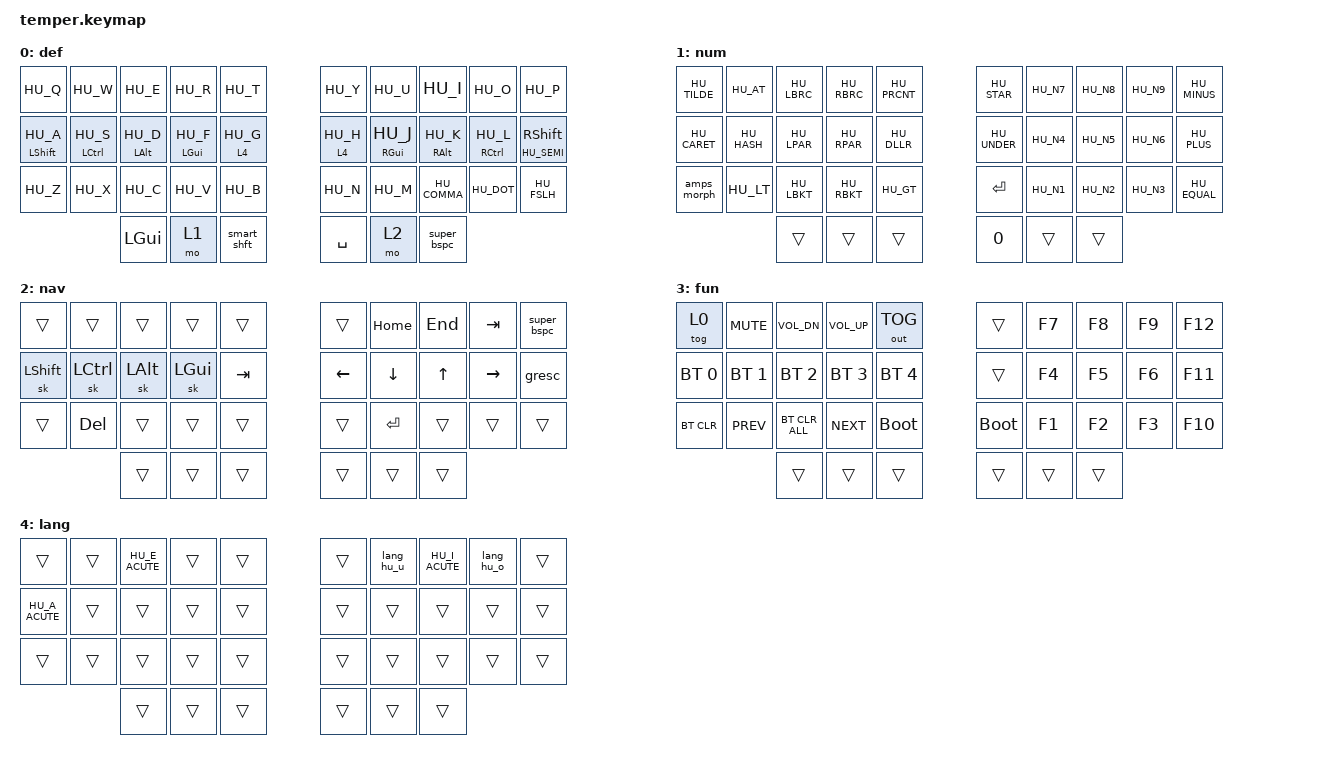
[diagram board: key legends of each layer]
/*
 * Copyright (c) 2020 The ZMK Contributors
 *
 * SPDX-License-Identifier: MIT
 */

#include "keys_hu_101.h"
#include <behaviors.dtsi>
#include <dt-bindings/zmk/bt.h>
#include <dt-bindings/zmk/keys.h>
#include <dt-bindings/zmk/outputs.h>

/ {
    conditional_layers {
        compatible = "zmk,conditional-layers";

        tri_layer {
            if-layers = <1 2>;
            then-layer = <3>;
        };
    };

    behaviors {
        bspc_del: backspace_delete {
            compatible = "zmk,behavior-mod-morph";
            #binding-cells = <0>;
            bindings = <&kp BACKSPACE>, <&kp DELETE>;

            mods = <(MOD_LSFT|MOD_RSFT)>;
            keep-mods = <(MOD_RSFT)>;
        };

        super_bspc: super_backspace {
            compatible = "zmk,behavior-mod-morph";
            #binding-cells = <0>;
            bindings = <&kp BACKSPACE>, <&kp LA(BACKSPACE)>;

            mods = <(MOD_LSFT|MOD_RSFT)>;
        };

        smart_shft: smart_shift {
            compatible = "zmk,behavior-mod-morph";
            #binding-cells = <0>;
            bindings = <&kp LSHFT>, <&caps_word>;

            mods = <(MOD_LSFT)>;
        };

        comma_semi: comma_semi {
            compatible = "zmk,behavior-mod-morph";
            #binding-cells = <0>;
            bindings = <&kp HU_COMMA>, <&kp HU_SEMI>;

            mods = <(MOD_LSFT)>;
        };

        dot_colon: dot_colon {
            compatible = "zmk,behavior-mod-morph";
            #binding-cells = <0>;
            bindings = <&kp HU_DOT>, <&kp HU_COLON>;

            mods = <(MOD_LSFT)>;
        };

        qmrk_excl: qmrk_excl {
            compatible = "zmk,behavior-mod-morph";
            #binding-cells = <0>;
            bindings = <&kp HU_QMARK>, <&kp HU_EXCL>;

            mods = <(MOD_LSFT)>;
        };

        slh_morph: slh_morph {
            compatible = "zmk,behavior-mod-morph";
            #binding-cells = <0>;
            bindings = <&kp HU_FSLH>, <&kp HU_BSLH>;

            mods = <(MOD_LSFT)>;
        };

        amps_morph: amps_morph {
            compatible = "zmk,behavior-mod-morph";
            #binding-cells = <0>;
            bindings = <&kp HU_AMPS>, <&kp HU_PIPE>;

            mods = <(MOD_LSFT)>;
        };

        ht_left: ht_left {
            compatible = "zmk,behavior-hold-tap";
            label = "HT_LEFT";
            bindings = <&kp>, <&kp>;

            #binding-cells = <2>;
            tapping-term-ms = <280>;
            quick-tap-ms = <175>;
            require-prior-idle-ms = <150>;
            flavor = "balanced";
            hold-trigger-on-release;
            hold-trigger-key-positions = <5 6 7 8 9 15 16 17 18 19 27 25 26 28 29 30 31 32 33 34 35>;
        };

        ht_right: ht_right {
            compatible = "zmk,behavior-hold-tap";
            label = "HT_RIGHT";
            bindings = <&kp>, <&kp>;

            #binding-cells = <2>;
            tapping-term-ms = <280>;
            quick-tap-ms = <175>;
            require-prior-idle-ms = <150>;
            flavor = "balanced";
            hold-trigger-on-release;
            hold-trigger-key-positions = <2 10 30 31 32 33 34 35 10 0 1 2 3 4 10 11 12 13 14 20 21 22 23 24 30 31 32>;
        };

        lang_hu_u: lang_hu_u {
            compatible = "zmk,behavior-tap-dance";
            label = "LANG_HU_U";
            #binding-cells = <0>;
            bindings =
                <&kp HU_U_ACUTE>,
                <&kp HU_U_UMLAUT>,
                <&kp HU_U_DOUBLE_ACUTE>;
        };

        lang_hu_o: lang_hu_o {
            compatible = "zmk,behavior-tap-dance";
            label = "LANG_HU_O";
            #binding-cells = <0>;
            bindings =
                <&kp HU_O_ACUTE>,
                <&kp HU_O_UMLAUT>,
                <&kp HU_O_DOUBLE_ACUTE>;
        };

        ht_left_layer: ht_left_layer {
            compatible = "zmk,behavior-hold-tap";
            label = "HT_LEFT_LAYER";
            bindings = <&mo>, <&kp>;

            #binding-cells = <2>;
            tapping-term-ms = <280>;
            quick-tap-ms = <175>;
            require-prior-idle-ms = <150>;
            flavor = "balanced";
            hold-trigger-on-release;
            hold-trigger-key-positions = <6 7 8 30 31 32 33 34 35>;
        };

        ht_right_layer: ht_right_layer {
            compatible = "zmk,behavior-hold-tap";
            label = "HT_RIGHT_LAYER";
            bindings = <&mo>, <&kp>;

            #binding-cells = <2>;
            tapping-term-ms = <280>;
            quick-tap-ms = <175>;
            require-prior-idle-ms = <150>;
            flavor = "balanced";
            hold-trigger-on-release;
            hold-trigger-key-positions = <2 10 30 31 32 33 34 35 10>;
        };
    };

    keymap {
        compatible = "zmk,keymap";

        default_layer {
            bindings = <
  &kp HU_Q              &kp HU_W             &kp HU_E            &kp HU_R            &kp HU_T                 &kp HU_Y                &kp HU_U             &kp HU_I             &kp HU_O              &kp HU_P
  &ht_left LSHIFT HU_A  &ht_left LCTRL HU_S  &ht_left LALT HU_D  &ht_left LGUI HU_F  &ht_left_layer 4 HU_G    &ht_right_layer 4 HU_H  &ht_right RGUI HU_J  &ht_right RALT HU_K  &ht_right RCTRL HU_L  &ht_right HU_SEMI RSHIFT
  &kp HU_Z              &kp HU_X             &kp HU_C            &kp HU_V            &kp HU_B                 &kp HU_N                &kp HU_M             &kp HU_COMMA         &kp HU_DOT            &kp HU_FSLH
                                             &kp LGUI            &mo 1               &smart_shft              &kp SPACE               &mo 2                &super_bspc
            >;

            label = "def";
        };

        num_layer {
            bindings = <
  &kp HU_TILDE  &kp HU_AT    &kp HU_LBRC  &kp HU_RBRC  &kp HU_PRCNT    &kp HU_STAR   &kp HU_N7  &kp HU_N8  &kp HU_N9  &kp HU_MINUS
  &kp HU_CARET  &kp HU_HASH  &kp HU_LPAR  &kp HU_RPAR  &kp HU_DLLR     &kp HU_UNDER  &kp HU_N4  &kp HU_N5  &kp HU_N6  &kp HU_PLUS
  &amps_morph   &kp HU_LT    &kp HU_LBKT  &kp HU_RBKT  &kp HU_GT       &kp RET       &kp HU_N1  &kp HU_N2  &kp HU_N3  &kp HU_EQUAL
                             &trans       &trans       &trans          &kp N0        &trans     &trans
            >;

            label = "num";
        };

        nav_layer {
            bindings = <
  &trans     &trans     &trans    &trans    &trans     &trans    &kp HOME  &kp END  &kp TAB    &super_bspc
  &sk LSHFT  &sk LCTRL  &sk LALT  &sk LGUI  &kp TAB    &kp LEFT  &kp DOWN  &kp UP   &kp RIGHT  &gresc
  &trans     &kp DEL    &trans    &trans    &trans     &trans    &kp RET   &trans   &trans     &trans
                        &trans    &trans    &trans     &trans    &trans    &trans
            >;

            label = "nav";
        };

        fun_layer {
            bindings = <
  &tog 0        &kp K_MUTE    &kp C_VOL_DN    &kp C_VOL_UP  &out OUT_TOG    &trans       &kp F7  &kp F8  &kp F9  &kp F12
  &bt BT_SEL 0  &bt BT_SEL 1  &bt BT_SEL 2    &bt BT_SEL 3  &bt BT_SEL 4    &trans       &kp F4  &kp F5  &kp F6  &kp F11
  &bt BT_CLR    &kp C_PREV    &bt BT_CLR_ALL  &kp C_NEXT    &bootloader     &bootloader  &kp F1  &kp F2  &kp F3  &kp F10
                              &trans          &trans        &trans          &trans       &trans  &trans
            >;

            label = "fun";
        };

        lang_hu {
            bindings = <
  &trans          &trans  &kp HU_E_ACUTE  &trans  &trans    &trans  &lang_hu_u  &kp HU_I_ACUTE  &lang_hu_o  &trans
  &kp HU_A_ACUTE  &trans  &trans          &trans  &trans    &trans  &trans      &trans          &trans      &trans
  &trans          &trans  &trans          &trans  &trans    &trans  &trans      &trans          &trans      &trans
                          &trans          &trans  &trans    &trans  &trans      &trans
            >;

            label = "lang";
        };
    };
};
